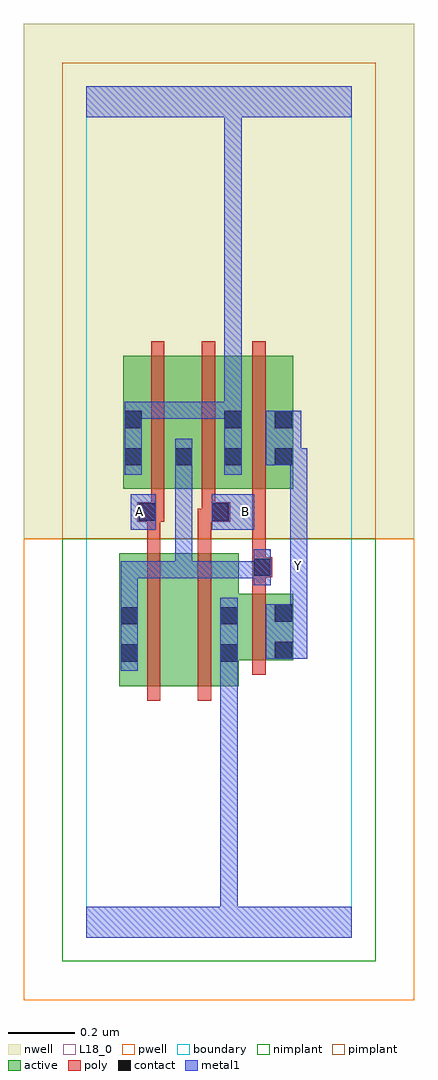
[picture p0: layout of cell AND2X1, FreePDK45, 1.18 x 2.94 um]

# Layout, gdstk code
import gdstk
lib = gdstk.Library(unit=1e-6, precision=1e-09)
def R(c, l, rs):  # rectangles x0, y0, x1, y1
    for r in rs: c.add(gdstk.rectangle(r[:2], r[2:], *l))
def A(c, l, x, y, w, h, nx, ny, dx, dy):  # array of equal rectangles
    R(c, l, [(x+i*dx, y+j*dy, x+i*dx+w, y+j*dy+h) for i in range(nx) for j in range(ny)])
active = (1, 0)
pwell = (2, 0)
nwell = (3, 0)
nimplant = (4, 0)
pimplant = (5, 0)
poly = (9, 0)
contact = (10, 0)
metal1 = (11, 0)
L18_0 = (18, 0)
boundary = (235, 0)

and2x1 = lib.new_cell('AND2X1')
R(and2x1, active, [(0.1,0.756,0.28,1.156), (0.1,0.756,0.16,1.156), (0.28,0.756,0.46,1.156), (0.4,0.756,0.46,1.034), (0.4,0.834,0.624,1.034), (0.564,0.834,0.624,1.034), (0.112,1.35,0.172,1.644), (0.112,1.35,0.324,1.75), (0.264,1.35,0.324,1.644), (0.264,1.35,0.472,1.75), (0.412,1.35,0.472,1.644), (0.412,1.35,0.624,1.75), (0.564,1.35,0.624,1.644)])
R(and2x1, pwell, [(-0.188,-0.188,0.988,1.2)])
R(and2x1, nwell, [(-0.188,1.2,0.988,2.748)])
R(and2x1, nimplant, [(-0.072,-0.072,0.872,1.2)])
R(and2x1, pimplant, [(-0.072,1.2,0.872,2.632)])
A(and2x1, poly, 0.196, 1.306, 0.04, 0.488, 3, 1, 0.152, 0)
R(and2x1, poly, [(0.184,0.712,0.224,1.2), (0.336,0.712,0.376,1.2), (0.5,0.79,0.54,1.078), (0.5,1.038,0.54,1.124), (0.5,1.084,0.56,1.144), (0.5,1.104,0.54,1.346), (0.5,1.104,0.54,1.144), (0.5,1.104,0.54,1.144), (0.184,1.16,0.224,1.29), (0.336,1.16,0.376,1.29), (0.154,1.25,0.236,1.31), (0.184,1.25,0.224,1.29), (0.184,1.25,0.224,1.29), (0.336,1.25,0.388,1.29), (0.348,1.25,0.388,1.29), (0.348,1.25,0.434,1.31), (0.196,1.27,0.236,1.346), (0.348,1.27,0.388,1.346)])
R(and2x1, contact, [(0.104,0.83,0.156,0.882), (0.404,0.83,0.456,0.882), (0.568,0.838,0.62,0.89), (0.104,0.942,0.156,0.994), (0.404,0.942,0.456,0.994), (0.568,0.95,0.62,1.002), (0.504,1.088,0.556,1.14), (0.158,1.254,0.21,1.306), (0.378,1.254,0.43,1.306), (0.116,1.42,0.168,1.472), (0.268,1.42,0.32,1.472), (0.416,1.42,0.468,1.472), (0.568,1.42,0.62,1.472), (0.116,1.532,0.168,1.584), (0.416,1.532,0.468,1.584), (0.568,1.532,0.62,1.584)])
R(and2x1, metal1, [(0,0,0.8,0.092), (0.404,0.04,0.456,0.092), (0.404,0.04,0.456,0.092), (0.404,0.04,0.456,0.092), (0.404,0.04,0.456,0.092), (0.404,0.04,0.456,0.092), (0.404,0.04,0.456,0.092), (0.404,0.04,0.456,0.092), (0.404,0.04,0.456,0.092), (0.404,0.04,0.456,0.092), (0.404,0.04,0.456,0.092), (0.404,0.04,0.456,0.854), (0.104,0.802,0.156,1.022), (0.404,0.802,0.456,0.854), (0.404,0.802,0.456,0.854), (0.404,0.802,0.456,1.022), (0.54,0.838,0.666,1.002), (0.614,0.95,0.666,1.118), (0.104,0.97,0.156,1.132), (0.504,1.06,0.556,1.168), (0.614,1.066,0.666,1.174), (0.104,1.08,0.156,1.132), (0.104,1.08,0.156,1.132), (0.104,1.08,0.156,1.132), (0.104,1.08,0.32,1.132), (0.268,1.08,0.32,1.132), (0.268,1.08,0.446,1.132), (0.268,1.08,0.32,1.444), (0.394,1.08,0.446,1.132), (0.394,1.08,0.446,1.132), (0.394,1.08,0.446,1.132), (0.394,1.08,0.556,1.132), (0.614,1.122,0.666,1.472), (0.134,1.226,0.21,1.334), (0.378,1.226,0.506,1.334), (0.116,1.392,0.168,1.612), (0.268,1.392,0.32,1.444), (0.268,1.392,0.32,1.444), (0.268,1.392,0.32,1.5), (0.416,1.392,0.468,1.612), (0.54,1.42,0.648,1.584), (0.596,1.42,0.648,1.472), (0.596,1.42,0.666,1.472), (0.116,1.56,0.278,1.612), (0.226,1.56,0.278,1.612), (0.226,1.56,0.278,1.612), (0.226,1.56,0.278,1.612), (0.226,1.56,0.388,1.612), (0.336,1.56,0.388,1.612), (0.336,1.56,0.468,1.612), (0.416,1.56,0.468,1.612), (0.416,1.56,0.468,1.612), (0.416,1.56,0.468,1.612), (0.416,1.56,0.468,1.612), (0.416,1.56,0.468,1.612), (0.416,1.56,0.468,1.612), (0.416,1.56,0.468,1.612), (0.416,1.56,0.468,1.612), (0.416,1.56,0.468,1.612), (0.416,1.56,0.468,1.612), (0.416,1.56,0.468,1.612), (0.416,1.56,0.468,1.612), (0.416,1.56,0.468,2.52), (0,2.468,0.8,2.56), (0.416,2.468,0.468,2.52), (0.416,2.468,0.468,2.52), (0.416,2.468,0.468,2.52), (0.416,2.468,0.468,2.52)])
R(and2x1, L18_0, [(0,0,0.8,0.092), (0.404,0.04,0.456,0.092), (0.404,0.04,0.456,0.092), (0.404,0.04,0.456,0.092), (0.404,0.04,0.456,0.092), (0.404,0.04,0.456,0.092), (0.404,0.04,0.456,0.092), (0.404,0.04,0.456,0.092), (0.404,0.04,0.456,0.092), (0.404,0.04,0.456,0.092), (0.404,0.04,0.456,0.092), (0.404,0.04,0.456,0.854), (0.404,0.802,0.456,1.022), (0.404,0.802,0.456,0.854), (0.404,0.802,0.456,0.854), (0.54,0.838,0.666,1.002), (0.614,0.95,0.666,1.118), (0.614,1.066,0.666,1.174), (0.614,1.094,0.666,1.146), (0.614,1.122,0.666,1.472), (0.134,1.226,0.21,1.334), (0.378,1.226,0.506,1.334), (0.134,1.254,0.186,1.306), (0.454,1.254,0.506,1.306), (0.116,1.392,0.168,1.612), (0.416,1.392,0.468,1.612), (0.54,1.42,0.648,1.584), (0.596,1.42,0.648,1.472), (0.596,1.42,0.666,1.472), (0.116,1.56,0.278,1.612), (0.226,1.56,0.278,1.612), (0.226,1.56,0.278,1.612), (0.226,1.56,0.278,1.612), (0.226,1.56,0.388,1.612), (0.336,1.56,0.388,1.612), (0.336,1.56,0.468,1.612), (0.416,1.56,0.468,1.612), (0.416,1.56,0.468,1.612), (0.416,1.56,0.468,1.612), (0.416,1.56,0.468,1.612), (0.416,1.56,0.468,1.612), (0.416,1.56,0.468,1.612), (0.416,1.56,0.468,1.612), (0.416,1.56,0.468,1.612), (0.416,1.56,0.468,1.612), (0.416,1.56,0.468,1.612), (0.416,1.56,0.468,1.612), (0.416,1.56,0.468,1.612), (0.416,1.56,0.468,2.52), (0,2.468,0.8,2.56), (0.416,2.468,0.468,2.52), (0.416,2.468,0.468,2.52), (0.416,2.468,0.468,2.52), (0.416,2.468,0.468,2.52)])
R(and2x1, boundary, [(0,0,0.8,2.56)])
and2x1.add(gdstk.Label('A', (0.16,1.28), layer=11, texttype=0))
and2x1.add(gdstk.Label('B', (0.48,1.28), layer=11, texttype=0))
and2x1.add(gdstk.Label('Y', (0.64,1.12), layer=11, texttype=0))

lib.write_gds('AND2X1.gds')
